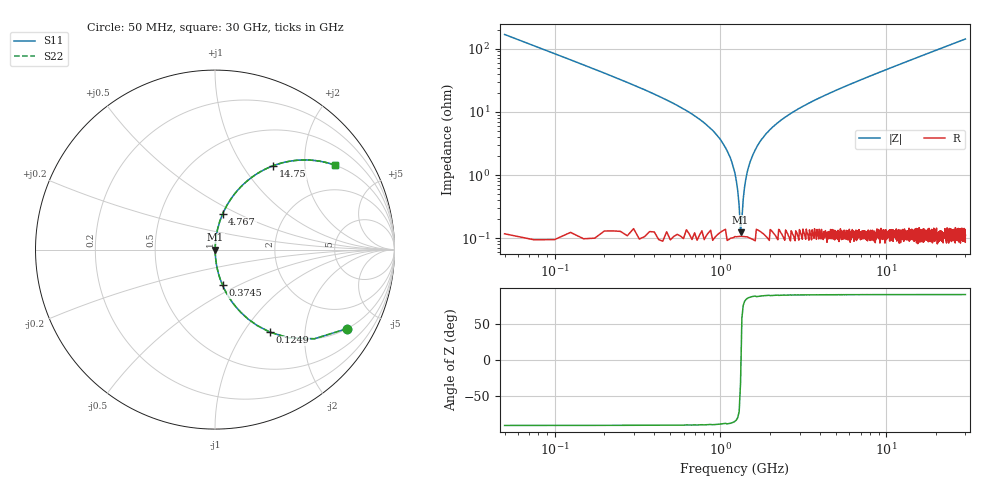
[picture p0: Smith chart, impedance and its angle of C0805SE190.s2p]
! AVX Thin Film Operation		Date: April 2012
! Description: Accu-P® Series, Thin Film, SMD, RF Capacitor
! Part Number: 08055J190FBTTR
!	50	MHz	-	20.05	GHz
!	Serial	Measurements
#	MHZ	S	MA	R	50
!	S11	S21	S12	S22
!	dB	Phase	dB	Phase	dB	Phase	dB	Phase
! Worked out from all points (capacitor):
!   1201 points, 50 MHz to 30 GHz, reference 50 ohm
!   read as one part in series: C = 19 pF near 199.8 MHz
!   lowest |Z| = 126 mohm at 1.323 GHz (marker M1)
!   series resonance near 1.33 GHz, so ESL is about 750 pH
!   S11 on the Smith chart (normalised r, x): 50 MHz: 1.00, -3.35; 124.9 MHz: 1.00, -1.33; 374.5 MHz: 1.00, -0.41; 4.767 GHz: 1.00, +0.42; 14.75 GHz: 1.00, +1.39; 30 GHz: 1.00, +2.84
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50  0.858 -30.9  0.513 59.1  0.513 59.1  0.858 -30.9
124.875  0.553 -56.3  0.832 33.6  0.832 33.6  0.553 -56.3
249.667  0.308 -71.9  0.95 17.9  0.95 17.9  0.308 -71.9
374.458  0.202 -78.1  0.978 11.6  0.978 11.6  0.202 -78.1
998.417  0.037 -86.1  0.998 2.1  0.998 2.1  0.037 -86.1
1123.208  0.021 -85.7  0.999 1.2  0.999 1.2  0.021 -85.7
1223.042  0.011 -83.2  0.999 0.6  0.999 0.6  0.011 -83.2
1322.875  0.001319 -29.4  0.999 0.0  0.999 0.0  0.001319 -29.4
1422.708  0.00859 81.8  0.999 -0.5  0.999 -0.5  0.00859 81.8
1547.5  0.019 85.5  0.999 -1.1  0.999 -1.1  0.019 85.5
1697.25  0.031 86.1  0.998 -1.8  0.998 -1.8  0.031 86.1
1896.917  0.046 85.9  0.998 -2.6  0.998 -2.6  0.046 85.9
2196.417  0.066 85.2  0.997 -3.8  0.997 -3.8  0.066 85.2
3194.75  0.124 82.3  0.991 -7.1  0.991 -7.1  0.124 82.3
4767.125  0.204 77.9  0.978 -11.8  0.978 -11.8  0.204 77.9
5041.667  0.217 77.2  0.975 -12.5  0.975 -12.5  0.217 77.2
10058.29  0.424 64.8  0.905 -25.1  0.905 -25.1  0.424 64.8
14750.46  0.569 55.2  0.821 -34.7  0.821 -34.7  0.569 55.2
15025  0.576 54.7  0.816 -35.2  0.816 -35.2  0.576 54.7
20016.67  0.686 46.6  0.727 -43.3  0.727 -43.3  0.686 46.6
25033.29  0.763 40.2  0.645 -49.8  0.645 -49.8  0.763 40.2
30000  0.817 35.2  0.576 -54.8  0.576 -54.8  0.817 35.2
